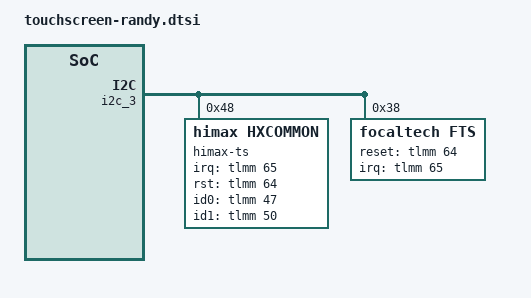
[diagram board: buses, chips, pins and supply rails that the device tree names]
/*for touchscreen config*/
&tlmm {
	gpio-controller;
	#gpio-cells = <2>;

	pmx_ts_int_init {
		ts_int_init: ts_int_init {
			mux {
				pins = "gpio65";
				function = "gpio";
				};
			config {
				pins = "gpio65";
				drive-strength = <2>;
				bias-disable;
			};
		};
	};

	pmx_ts_reset_init {
		ts_reset_init: ts_reset_init {
			mux {
				pins = "gpio64";
				function = "gpio";
			};
				config {
				pins = "gpio64";
				drive-strength = <2>;
				bias-disable;
			};
		};
	};

	pmx_ts_lcdid0_init {
		ts_lcdid0_init: ts_lcdid0_init {
			mux {
				pins = "gpio47";
				function = "gpio";
				};
			config {
				pins = "gpio47";
				drive-strength = <2>;
				bias-pull-down;
				input-enable;
			};
		};
	};

	pmx_ts_lcdid1_init {
		ts_lcdid1_init: ts_lcdid1_init {
			mux {
				pins = "gpio50";
				function = "gpio";
			};
				config {
				pins = "gpio50";
				drive-strength = <2>;
				bias-pull-down;
				input-enable;
			};
		};
	};
};

&i2c_3 { /* BLSP1 QUP3 */
	status = "okay";
	himax-ts@48 {
		compatible = "himax,hxcommon";
		reg = <0x48>;
		interrupt-parent = <&tlmm>;
		interrupts = <65 0x2>;
		pinctrl-names = "pmx_ts_init";
		pinctrl-0 = <&ts_int_init &ts_reset_init &ts_lcdid0_init &ts_lcdid1_init>;
		himax,panel-coords = <0 1080 0 2160>;
		himax,display-coords = <0 1080 0 2160>;
		himax,irq-gpio = <&tlmm 65 0x00>;
		himax,rst-gpio = <&tlmm 64 0x00>;
		himax,id0-gpio = <&tlmm 47 0x00>;
		himax,id1-gpio = <&tlmm 50 0x00>;
		report_type = <1>;
	};

	focaltech@38 {
		compatible = "focaltech,fts";
		reg = <0x38>;
		interrupt-parent = <&tlmm>;
		pinctrl-names = "pmx_ts_active", "pmx_ts_suspend";
		pinctrl-0 = <&ts_int_init &ts_reset_init &ts_lcdid0_init &ts_lcdid1_init>;
		pinctrl-1 = <&ts_int_init &ts_reset_init &ts_lcdid0_init &ts_lcdid1_init>;
		focaltech,reset-gpio = <&tlmm 64 0x00>;
		focaltech,irq-gpio = <&tlmm 65 0x00>;
		focaltech,display-coords = <0 0 1079 2159>;
		focaltech,max-touch-number = <10>;
	};

};
